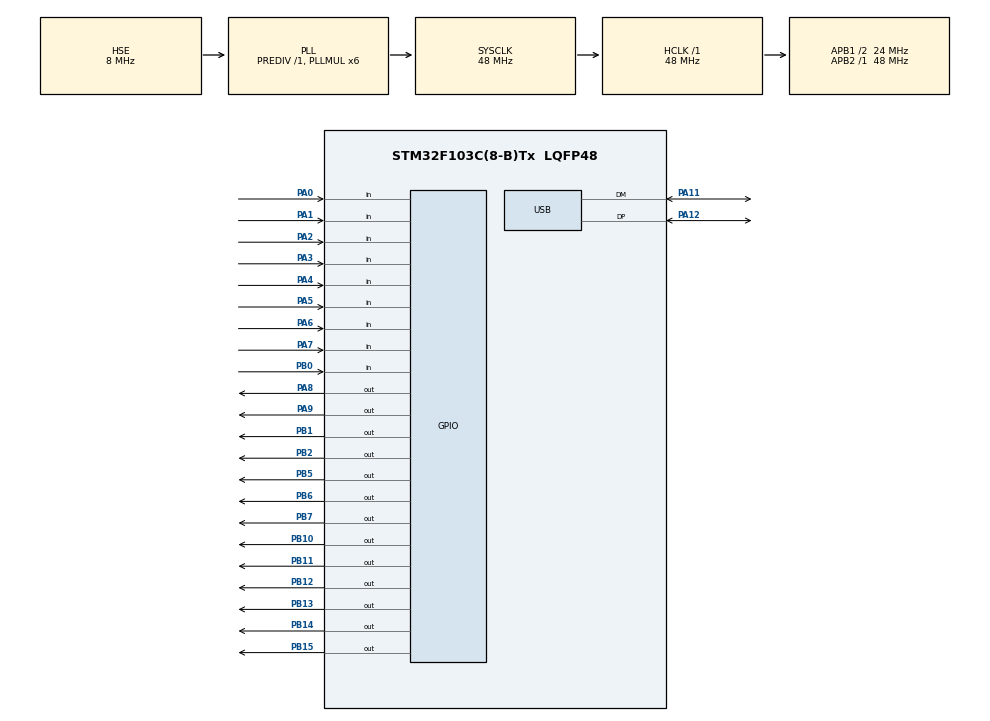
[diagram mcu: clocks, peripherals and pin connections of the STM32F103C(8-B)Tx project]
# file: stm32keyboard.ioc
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Mcu.Family=STM32F1
PA2.GPIO_PuPd=GPIO_PULLDOWN
USB_DEVICE.CLASS_NAME_FS=HID
PB10.GPIO_PuPd=GPIO_PULLUP
PA3.GPIO_PuPd=GPIO_PULLDOWN
PA11.Mode=Device
PB11.GPIO_PuPd=GPIO_PULLUP
PB11.Signal=GPIO_Output
PB13.Signal=GPIO_Output
PB15.Signal=GPIO_Output
RCC.SYSCLKSource=RCC_SYSCLKSOURCE_PLLCLK
ProjectManager.StackSize=0x400
VP_FREERTOS_VS_CMSIS_V2.Mode=CMSIS_V2
PD1-OSC_OUT.Signal=RCC_OSC_OUT
PA12.Signal=USB_DP
PB1.GPIO_PuPd=GPIO_PULLUP
RCC.HCLKFreq_Value=48000000
RCC.APB2TimFreq_Value=48000000
PB6.Signal=GPIO_Output
PA1.GPIO_PuPd=GPIO_PULLDOWN
RCC.AHBFreq_Value=48000000
PA4.GPIO_PuPd=GPIO_PULLDOWN
PB2.Signal=GPIO_Output
PB3.Mode=JTAG_4_pins
PA15.Mode=JTAG_4_pins
RCC.PLLMUL=RCC_PLL_MUL6
PA6.GPIO_PuPd=GPIO_PULLDOWN
PA14.Mode=JTAG_4_pins
PA5.GPIO_PuPd=GPIO_PULLDOWN
PB7.Signal=GPIO_Output
PA8.Signal=GPIO_Output
PB2.GPIO_PuPd=GPIO_PULLUP
Mcu.Package=LQFP48
PB14.GPIO_PuPd=GPIO_PULLUP
PB1.Signal=GPIO_Output
PA6.Signal=GPIO_Input
PB15.GPIO_PuPd=GPIO_PULLUP
PA15.Signal=SYS_JTDI
RCC.APB1TimFreq_Value=48000000
PA3.Signal=GPIO_Input
PB7.GPIO_PuPd=GPIO_PULLUP
RCC.PLLSourceVirtual=RCC_PLLSOURCE_HSE
FREERTOS.Tasks01=defaultTask,24,128,StartDefaultTask,Default,NULL,Dynamic,NULL,NULL;usbCom,32,128,StartUsbCom,Default,NULL,Dynamic,NULL,NULL;keyboardMatrix,40,128,StartKeyboardMatrix,Default,NULL,Dynamic,NULL,NULL
PD1-OSC_OUT.Mode=HSE-External-Oscillator
USB_DEVICE.VirtualModeFS=Hid_FS
PB6.GPIO_PuPd=GPIO_PULLUP
PD0-OSC_IN.Signal=RCC_OSC_IN
RCC.APB1CLKDivider=RCC_HCLK_DIV2
PA9.GPIO_PuPd=GPIO_PULLUP
PA0-WKUP.Signal=GPIO_Input
PA13.Signal=SYS_JTMS-SWDIO
ProjectManager.TargetToolchain=STM32CubeIDE
PA9.Signal=GPIO_Output
RCC.USBFreq_Value=48000000
PA7.GPIO_PuPd=GPIO_PULLDOWN
PA1.Signal=GPIO_Input
PD0-OSC_IN.Mode=HSE-External-Oscillator
PB10.Signal=GPIO_Output
PB14.Signal=GPIO_Output
PA5.Signal=GPIO_Input
board=custom
PB13.GPIO_PuPd=GPIO_PULLUP
VP_USB_DEVICE_VS_USB_DEVICE_HID_FS.Mode=HID_FS
RCC.APB2Freq_Value=48000000
NVIC.USB_LP_CAN1_RX0_IRQn=true\:5\:0\:false\:false\:true\:true\:false\:true
PA13.Mode=JTAG_4_pins
Mcu.Name=STM32F103C(8-B)Tx
PA2.Signal=GPIO_Input
PB3.Signal=SYS_JTDO-TRACESWO
PA4.Signal=GPIO_Input
RCC.SYSCLKFreq_VALUE=48000000
PB5.Signal=GPIO_Output
PA12.Mode=Device
PB5.GPIO_PuPd=GPIO_PULLUP
PA11.Signal=USB_DM
PA14.Signal=SYS_JTCK-SWCLK
ProjectManager.HeapSize=0x200
PA8.GPIO_PuPd=GPIO_PULLUP
NVIC.PriorityGroup=NVIC_PRIORITYGROUP_4
PA0-WKUP.GPIO_PuPd=GPIO_PULLDOWN
PB12.GPIO_PuPd=GPIO_PULLUP
RCC.APB1Freq_Value=24000000
PB0.Signal=GPIO_Input
USB_DEVICE.VirtualMode=Hid
PB12.Signal=GPIO_Output
PB0.GPIO_PuPd=GPIO_PULLDOWN
PA7.Signal=GPIO_Input

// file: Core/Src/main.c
/* USER CODE BEGIN Header */
/**
  ******************************************************************************
  * @file           : main.c
  * @brief          : Main program body
  ******************************************************************************
  * @attention
  *
  * <h2><center>&copy; Copyright (c) 2021 STMicroelectronics.
  * All rights reserved.</center></h2>
  *
  * This software component is licensed by ST under BSD 3-Clause license,
  * the "License"; You may not use this file except in compliance with the
  * License. You may obtain a copy of the License at:
  *                        opensource.org/licenses/BSD-3-Clause
  *
  ******************************************************************************
  */
/* USER CODE END Header */
#include "main.h"
#include "cmsis_os.h"
#include "usb_device.h"
#include "usb_keycode.h"

/* USER CODE BEGIN Includes */
#include "switchMatrix.h"
#include "configKeys.h"

/* USER CODE END Includes */

/* Definitions for defaultTask */
osThreadId_t defaultTaskHandle;
const osThreadAttr_t defaultTask_attributes = {
  .name = "defaultTask",
  .stack_size = 128 * 4,
  .priority = (osPriority_t) osPriorityNormal,
};
/* Definitions for usbCom */
osThreadId_t usbComHandle;
const osThreadAttr_t usbCom_attributes = {
  .name = "usbCom",
  .stack_size = 128 * 4,
  .priority = (osPriority_t) osPriorityAboveNormal,
};
/* Definitions for keyboardMatrix */
osThreadId_t keyboardMatrixHandle;
const osThreadAttr_t keyboardMatrix_attributes = {
  .name = "keyboardMatrix",
  .stack_size = 128 * 4,
  .priority = (osPriority_t) osPriorityHigh,
};

void SystemClock_Config(void);
static void MX_GPIO_Init(void);
void StartDefaultTask(void *argument);
void StartUsbCom(void *argument);
void StartKeyboardMatrix(void *argument);

/* USER CODE BEGIN 0 */

#define MATRIX_ROWS 8
#define MATRIX_COLS 9

#define KC_ESC 	10
#define KC_1 	1
#define KC_2 	2
#define KC_3	3
#define KC_4	4
#define KC_5	5
#define KC_6	6
#define KC_7	7
#define KC_8	8
#define KC_9	9
#define KC_0	0
#define KC_MINS 11
#define KC_EQL  12
#define KC_BSLS 13

const uint16_t keymaps[][MATRIX_ROWS][MATRIX_COLS] = {
    LAYOUT(\
        KC_ESC, KC_1,   KC_2,   KC_3,   KC_4,   KC_5,   KC_6,   KC_7,   KC_8,   KC_9,   KC_0,   KC_MINS,KC_EQL, KC_BSLS,\
        KC_ESC, KC_1,   KC_2,   KC_3,   KC_4,   KC_5,   KC_6,   KC_7,   KC_8,   KC_9,   KC_0,   KC_MINS,KC_EQL, KC_BSLS,\
        KC_ESC, KC_1,   KC_2,   KC_3,   KC_4,   KC_5,   KC_6,   KC_7,   KC_8,   KC_9,   KC_0,   KC_MINS,KC_EQL, KC_BSLS,\
        KC_ESC, KC_1,   KC_2,   KC_3,   KC_4,   KC_5,   KC_6,   KC_7,   KC_8,   KC_9,   KC_0,   KC_MINS,KC_EQL, KC_BSLS,\
        KC_ESC, KC_1,   KC_2,   KC_3,   KC_4,   KC_5,        KC_6,      KC_8,   KC_9,   KC_0,   KC_MINS,KC_EQL, KC_BSLS \
    )
};

const uint16_t keymap_azerty[][MATRIX_ROWS][MATRIX_COLS] = {
    LAYOUT(\
        KEY_ESC, 		KEY_1,		KEY_2,		KEY_3,   KEY_4,   KEY_5,   KEY_6,   KEY_7,   KEY_8,   KEY_9,   KEY_0,   KEY_0,KEY_0, KEY_0,\
		KEY_TAB, 		KEY_A,		KEY_Z,		KEY_E,   KEY_R,   KEY_T,   KEY_Y,   KEY_U,   KEY_I,   KEY_O,   KEY_P,   KEY_0,KEY_0, KEY_0,\
		KEY_CAPSLOCK, 	KEY_Q,		KEY_S,		KEY_D,   KEY_F,   KEY_G,   KEY_H,   KEY_J,   KEY_K,   KEY_L,   KEY_M,   KEY_0,KEY_0, KEY_0,\
		KEY_LEFTSHIFT, 	KEY_W,		KEY_W,		KEY_X,   KEY_C,   KEY_V,   KEY_B,   KEY_N,   KEY_8,   KEY_9,   KEY_0,   KEY_0,KEY_0, KEY_0,\
		KEY_LEFTCTRL, 	KEY_HOME,	KEY_LEFTALT,KEY_3,   KEY_4,   KEY_5,       KEY_SPACE,    KEY_8,   KEY_9,   KEY_0,   KEY_0,KEY_0, KEY_0 \
    )
};

extern USBD_HandleTypeDef hUsbDeviceFS;

typedef struct
{
	uint8_t MODIFIER;
	uint8_t RESERVED;
	uint8_t KEYCODE1;
	uint8_t KEYCODE2;
	uint8_t KEYCODE3;
	uint8_t KEYCODE4;
	uint8_t KEYCODE5;
	uint8_t KEYCODE6;
} keyboardHID;

keyboardHID keyboardhid = {0,0,0,0,0,0,0,0};

/* USER CODE END 0 */

int main(void)
{

  /* MCU Configuration--------------------------------------------------------*/

  /* Reset of all peripherals, Initializes the Flash interface and the Systick. */
  HAL_Init();

  /* Configure the system clock */
  SystemClock_Config();

  /* Initialize all configured peripherals */
  MX_GPIO_Init();

  /* Init scheduler */
  osKernelInitialize();

  /* Create the thread(s) */
  /* creation of defaultTask */
  defaultTaskHandle = osThreadNew(StartDefaultTask, NULL, &defaultTask_attributes);

  /* creation of usbCom */
  usbComHandle = osThreadNew(StartUsbCom, NULL, &usbCom_attributes);

  /* creation of keyboardMatrix */
  keyboardMatrixHandle = osThreadNew(StartKeyboardMatrix, NULL, &keyboardMatrix_attributes);

  /* Start scheduler */
  osKernelStart();

  /* We should never get here as control is now taken by the scheduler */
  /* Infinite loop */
  /* USER CODE BEGIN WHILE */

  /*while (1)
  {
  }*/
  /* USER CODE END 3 */
}

void SystemClock_Config(void)
{
  RCC_OscInitTypeDef RCC_OscInitStruct = {0};
  RCC_ClkInitTypeDef RCC_ClkInitStruct = {0};
  RCC_PeriphCLKInitTypeDef PeriphClkInit = {0};

  /** Initializes the RCC Oscillators according to the specified parameters
  * in the RCC_OscInitTypeDef structure.
  */
  RCC_OscInitStruct.OscillatorType = RCC_OSCILLATORTYPE_HSE;
  RCC_OscInitStruct.HSEState = RCC_HSE_ON;
  RCC_OscInitStruct.HSEPredivValue = RCC_HSE_PREDIV_DIV1;
  RCC_OscInitStruct.HSIState = RCC_HSI_ON;
  RCC_OscInitStruct.PLL.PLLState = RCC_PLL_ON;
  RCC_OscInitStruct.PLL.PLLSource = RCC_PLLSOURCE_HSE;
  RCC_OscInitStruct.PLL.PLLMUL = RCC_PLL_MUL6;
  if (HAL_RCC_OscConfig(&RCC_OscInitStruct) != HAL_OK)
  {
    Error_Handler();
  }
  /** Initializes the CPU, AHB and APB buses clocks
  */
  RCC_ClkInitStruct.ClockType = RCC_CLOCKTYPE_HCLK|RCC_CLOCKTYPE_SYSCLK
                              |RCC_CLOCKTYPE_PCLK1|RCC_CLOCKTYPE_PCLK2;
  RCC_ClkInitStruct.SYSCLKSource = RCC_SYSCLKSOURCE_PLLCLK;
  RCC_ClkInitStruct.AHBCLKDivider = RCC_SYSCLK_DIV1;
  RCC_ClkInitStruct.APB1CLKDivider = RCC_HCLK_DIV2;
  RCC_ClkInitStruct.APB2CLKDivider = RCC_HCLK_DIV1;

  if (HAL_RCC_ClockConfig(&RCC_ClkInitStruct, FLASH_LATENCY_1) != HAL_OK)
  {
    Error_Handler();
  }
  PeriphClkInit.PeriphClockSelection = RCC_PERIPHCLK_USB;
  PeriphClkInit.UsbClockSelection = RCC_USBCLKSOURCE_PLL;
  if (HAL_RCCEx_PeriphCLKConfig(&PeriphClkInit) != HAL_OK)
  {
    Error_Handler();
  }
}

static void MX_GPIO_Init(void)
{
  GPIO_InitTypeDef GPIO_InitStruct = {0};

  /* GPIO Ports Clock Enable */
  __HAL_RCC_GPIOD_CLK_ENABLE();
  __HAL_RCC_GPIOA_CLK_ENABLE();
  __HAL_RCC_GPIOB_CLK_ENABLE();

  /*Configure GPIO pin Output Level */
  HAL_GPIO_WritePin(GPIOB, GPIO_PIN_1|GPIO_PIN_2|GPIO_PIN_10|GPIO_PIN_11
                          |GPIO_PIN_12|GPIO_PIN_13|GPIO_PIN_14|GPIO_PIN_15
                          |GPIO_PIN_5|GPIO_PIN_6|GPIO_PIN_7, GPIO_PIN_RESET);

  /*Configure GPIO pin Output Level */
  HAL_GPIO_WritePin(GPIOA, GPIO_PIN_8|GPIO_PIN_9, GPIO_PIN_RESET);

  /*Configure GPIO pins : PA0 PA1 PA2 PA3
                           PA4 PA5 PA6 PA7 */
  GPIO_InitStruct.Pin = GPIO_PIN_0|GPIO_PIN_1|GPIO_PIN_2|GPIO_PIN_3
                          |GPIO_PIN_4|GPIO_PIN_5|GPIO_PIN_6|GPIO_PIN_7;
  GPIO_InitStruct.Mode = GPIO_MODE_INPUT;
  GPIO_InitStruct.Pull = GPIO_PULLDOWN;
  HAL_GPIO_Init(GPIOA, &GPIO_InitStruct);

  /*Configure GPIO pin : PB0 */
  GPIO_InitStruct.Pin = GPIO_PIN_0;
  GPIO_InitStruct.Mode = GPIO_MODE_INPUT;
  GPIO_InitStruct.Pull = GPIO_PULLDOWN;
  HAL_GPIO_Init(GPIOB, &GPIO_InitStruct);

  /*Configure GPIO pins : PB1 PB2 PB10 PB11
                           PB12 PB13 PB14 PB15
         b                  PB5 PB6 PB7 */
  GPIO_InitStruct.Pin = GPIO_PIN_1|GPIO_PIN_2|GPIO_PIN_10|GPIO_PIN_11
                          |GPIO_PIN_12|GPIO_PIN_13|GPIO_PIN_14|GPIO_PIN_15
                          |GPIO_PIN_5|GPIO_PIN_6|GPIO_PIN_7;
  GPIO_InitStruct.Mode = GPIO_MODE_OUTPUT_PP;
  GPIO_InitStruct.Pull = GPIO_PULLUP;
  GPIO_InitStruct.Speed = GPIO_SPEED_FREQ_LOW;
  HAL_GPIO_Init(GPIOB, &GPIO_InitStruct);

  /*Configure GPIO pins : PA8 PA9 */
  GPIO_InitStruct.Pin = GPIO_PIN_8|GPIO_PIN_9;
  GPIO_InitStruct.Mode = GPIO_MODE_OUTPUT_PP;
  GPIO_InitStruct.Pull = GPIO_PULLUP;
  GPIO_InitStruct.Speed = GPIO_SPEED_FREQ_LOW;
  HAL_GPIO_Init(GPIOA, &GPIO_InitStruct);

}

void StartDefaultTask(void *argument)
{
  /* init code for USB_DEVICE */
  MX_USB_DEVICE_Init();
  for(;;)
  {
    osDelay(1);
  }
}

void StartUsbCom(void *argument)
{
  /* USER CODE BEGIN StartUsbCom */
  /* Infinite loop */
  for(;;)
  {
    //osDelay(1);

    keyboardhid.KEYCODE1 = KEY_B;  // press 'a'
    USBD_HID_SendReport(&hUsbDeviceFS, &keyboardhid, sizeof (keyboardhid));
    osDelay(50);
    keyboardhid.KEYCODE1 = 0x00;  // release key
    USBD_HID_SendReport(&hUsbDeviceFS, &keyboardhid, sizeof (keyboardhid));
    osDelay(1000);

  }
  /* USER CODE END StartUsbCom */
}

void StartKeyboardMatrix(void *argument)
{
  /* USER CODE BEGIN StartKeyboardMatrix */
	  int col, row;
	  int keymap;
  /* Infinite loop */
  for(;;)
  {
    osDelay(1);
	for(col=1;col<=8;col++){
	  bWriteColumnState(col,1);
	  if ((row=intReadRowState())!=0){

		  keymap=keymap_azerty[0][row-1][col-1];

	  }
	  bWriteColumnState(col,0);
	}
  }
  /* USER CODE END StartKeyboardMatrix */
}

void Error_Handler(void)
{
  __disable_irq();
  while (1)
  {
  }
}

/************************ (C) COPYRIGHT STMicroelectronics *****END OF FILE****/
